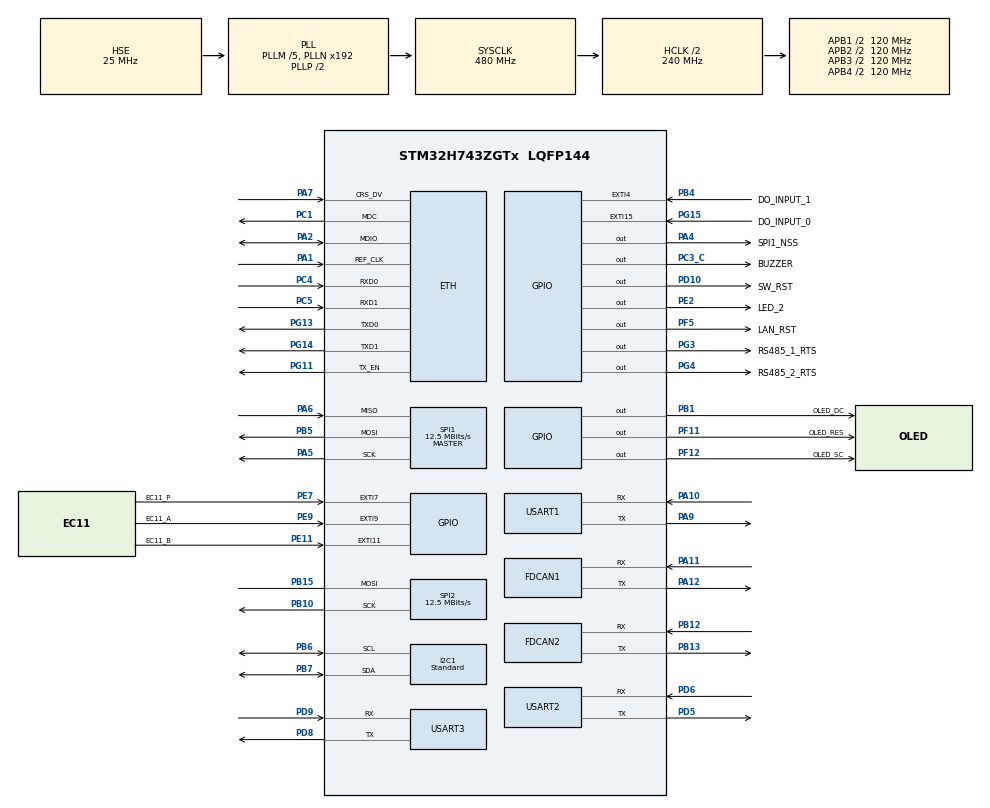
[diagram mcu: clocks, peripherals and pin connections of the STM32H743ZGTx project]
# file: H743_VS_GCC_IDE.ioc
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CORTEX_M7.AccessPermission_S-Cortex_Memory_Protection_Unit_Region1_Settings_S=MPU_REGION_FULL_ACCESS
CORTEX_M7.AccessPermission_S-Cortex_Memory_Protection_Unit_Region2_Settings_S=MPU_REGION_FULL_ACCESS
CORTEX_M7.AccessPermission_S-Cortex_Memory_Protection_Unit_Region3_Settings_S=MPU_REGION_FULL_ACCESS
CORTEX_M7.AccessPermission_S-Cortex_Memory_Protection_Unit_Region4_Settings_S=MPU_REGION_FULL_ACCESS
CORTEX_M7.AccessPermission_Spec=MPU_REGION_FULL_ACCESS
CORTEX_M7.BaseAddress_S-Cortex_Memory_Protection_Unit_Region1_Settings_S=0x30000000
CORTEX_M7.BaseAddress_S-Cortex_Memory_Protection_Unit_Region2_Settings_S=0x30004000
CORTEX_M7.BaseAddress_S-Cortex_Memory_Protection_Unit_Region3_Settings_S=0x38800000
CORTEX_M7.BaseAddress_S-Cortex_Memory_Protection_Unit_Region4_Settings_S=0x38000000
CORTEX_M7.BaseAddress_Spec=0x24000000
CORTEX_M7.CPU_DCache=Enabled
CORTEX_M7.CPU_ICache=Enabled
CORTEX_M7.DisableExec_S-Cortex_Memory_Protection_Unit_Region1_Settings_S=MPU_INSTRUCTION_ACCESS_DISABLE
CORTEX_M7.DisableExec_S-Cortex_Memory_Protection_Unit_Region2_Settings_S=MPU_INSTRUCTION_ACCESS_ENABLE
CORTEX_M7.DisableExec_Spec=MPU_INSTRUCTION_ACCESS_ENABLE
CORTEX_M7.Enable_S-Cortex_Memory_Protection_Unit_Region1_Settings_S=MPU_REGION_ENABLE
CORTEX_M7.Enable_S-Cortex_Memory_Protection_Unit_Region2_Settings_S=MPU_REGION_ENABLE
CORTEX_M7.Enable_S-Cortex_Memory_Protection_Unit_Region3_Settings_S=MPU_REGION_ENABLE
CORTEX_M7.Enable_S-Cortex_Memory_Protection_Unit_Region4_Settings_S=MPU_REGION_ENABLE
CORTEX_M7.Enable_S-Cortex_Memory_Protection_Unit_Region5_Settings_S=__NULL
CORTEX_M7.IsBufferable_S-Cortex_Memory_Protection_Unit_Region1_Settings_S=MPU_ACCESS_BUFFERABLE
CORTEX_M7.IsBufferable_S-Cortex_Memory_Protection_Unit_Region2_Settings_S=MPU_ACCESS_NOT_BUFFERABLE
CORTEX_M7.IsBufferable_S-Cortex_Memory_Protection_Unit_Region4_Settings_S=MPU_ACCESS_NOT_BUFFERABLE
CORTEX_M7.IsBufferable_Spec=MPU_ACCESS_NOT_BUFFERABLE
CORTEX_M7.IsCacheable_S-Cortex_Memory_Protection_Unit_Region2_Settings_S=MPU_ACCESS_CACHEABLE
CORTEX_M7.IsCacheable_S-Cortex_Memory_Protection_Unit_Region4_Settings_S=MPU_ACCESS_CACHEABLE
CORTEX_M7.IsCacheable_Spec=MPU_ACCESS_CACHEABLE
CORTEX_M7.IsShareable_S-Cortex_Memory_Protection_Unit_Region1_Settings_S=MPU_ACCESS_SHAREABLE
CORTEX_M7.IsShareable_S-Cortex_Memory_Protection_Unit_Region2_Settings_S=MPU_ACCESS_NOT_SHAREABLE
CORTEX_M7.IsShareable_S-Cortex_Memory_Protection_Unit_Region4_Settings_S=MPU_ACCESS_SHAREABLE
CORTEX_M7.IsShareable_Spec=MPU_ACCESS_NOT_SHAREABLE
CORTEX_M7.Size_S-Cortex_Memory_Protection_Unit_Region1_Settings_S=MPU_REGION_SIZE_256B
CORTEX_M7.Size_S-Cortex_Memory_Protection_Unit_Region2_Settings_S=MPU_REGION_SIZE_64KB
CORTEX_M7.Size_S-Cortex_Memory_Protection_Unit_Region3_Settings_S=MPU_REGION_SIZE_4KB
CORTEX_M7.Size_S-Cortex_Memory_Protection_Unit_Region4_Settings_S=MPU_REGION_SIZE_64KB
CORTEX_M7.Size_Spec=MPU_REGION_SIZE_512KB
CORTEX_M7.SubRegionDisable_Spec=0x00
CORTEX_M7.TypeExtField_S-Cortex_Memory_Protection_Unit_Region2_Settings_S=MPU_TEX_LEVEL1
CORTEX_M7.default_mode_Activation=1
Dma.I2C1_TX.0.Direction=DMA_MEMORY_TO_PERIPH
Dma.I2C1_TX.0.EventEnable=DISABLE
Dma.I2C1_TX.0.FIFOMode=DMA_FIFOMODE_DISABLE
Dma.I2C1_TX.0.Instance=DMA1_Stream3
Dma.I2C1_TX.0.MemDataAlignment=DMA_MDATAALIGN_BYTE
Dma.I2C1_TX.0.MemInc=DMA_MINC_ENABLE
Dma.I2C1_TX.0.Mode=DMA_NORMAL
Dma.I2C1_TX.0.PeriphDataAlignment=DMA_PDATAALIGN_BYTE
Dma.I2C1_TX.0.PeriphInc=DMA_PINC_DISABLE
Dma.I2C1_TX.0.Polarity=HAL_DMAMUX_REQ_GEN_RISING
Dma.I2C1_TX.0.Priority=DMA_PRIORITY_LOW
Dma.I2C1_TX.0.RequestNumber=1
Dma.I2C1_TX.0.SignalID=NONE
Dma.I2C1_TX.0.SyncEnable=DISABLE
Dma.I2C1_TX.0.SyncPolarity=HAL_DMAMUX_SYNC_NO_EVENT
Dma.I2C1_TX.0.SyncRequestNumber=1
Dma.I2C1_TX.0.SyncSignalID=NONE
Dma.Request0=I2C1_TX
Dma.Request1=USART2_RX
Dma.Request2=USART2_TX
Dma.Request3=USART1_RX
Dma.Request4=USART1_TX
Dma.USART1_RX.3.Direction=DMA_PERIPH_TO_MEMORY
Dma.USART1_RX.3.EventEnable=DISABLE
Dma.USART1_RX.3.FIFOMode=DMA_FIFOMODE_DISABLE
Dma.USART1_RX.3.Instance=DMA1_Stream0
Dma.USART1_RX.3.MemDataAlignment=DMA_MDATAALIGN_BYTE
Dma.USART1_RX.3.MemInc=DMA_MINC_ENABLE
Dma.USART1_RX.3.Mode=DMA_NORMAL
Dma.USART1_RX.3.PeriphDataAlignment=DMA_PDATAALIGN_BYTE
Dma.USART1_RX.3.PeriphInc=DMA_PINC_DISABLE
Dma.USART1_RX.3.Polarity=HAL_DMAMUX_REQ_GEN_RISING
Dma.USART1_RX.3.Priority=DMA_PRIORITY_HIGH
Dma.USART1_RX.3.RequestNumber=1
Dma.USART1_RX.3.SignalID=NONE
Dma.USART1_RX.3.SyncEnable=DISABLE
Dma.USART1_RX.3.SyncPolarity=HAL_DMAMUX_SYNC_NO_EVENT
Dma.USART1_RX.3.SyncRequestNumber=1
Dma.USART1_RX.3.SyncSignalID=NONE
Dma.USART1_TX.4.Direction=DMA_MEMORY_TO_PERIPH
Dma.USART1_TX.4.EventEnable=DISABLE
Dma.USART1_TX.4.FIFOMode=DMA_FIFOMODE_DISABLE
Dma.USART1_TX.4.Instance=DMA1_Stream1
Dma.USART1_TX.4.MemDataAlignment=DMA_MDATAALIGN_BYTE
Dma.USART1_TX.4.MemInc=DMA_MINC_ENABLE
Dma.USART1_TX.4.Mode=DMA_NORMAL
Dma.USART1_TX.4.PeriphDataAlignment=DMA_PDATAALIGN_BYTE
Dma.USART1_TX.4.PeriphInc=DMA_PINC_DISABLE
Dma.USART1_TX.4.Polarity=HAL_DMAMUX_REQ_GEN_RISING
Dma.USART1_TX.4.Priority=DMA_PRIORITY_HIGH
Dma.USART1_TX.4.RequestNumber=1
Dma.USART1_TX.4.SignalID=NONE
Dma.USART1_TX.4.SyncEnable=DISABLE
Dma.USART1_TX.4.SyncPolarity=HAL_DMAMUX_SYNC_NO_EVENT
Dma.USART1_TX.4.SyncRequestNumber=1
Dma.USART1_TX.4.SyncSignalID=NONE
Dma.USART2_RX.1.Direction=DMA_PERIPH_TO_MEMORY
Dma.USART2_RX.1.EventEnable=DISABLE
Dma.USART2_RX.1.FIFOMode=DMA_FIFOMODE_DISABLE
Dma.USART2_RX.1.Instance=DMA1_Stream4
Dma.USART2_RX.1.MemDataAlignment=DMA_MDATAALIGN_BYTE
Dma.USART2_RX.1.MemInc=DMA_MINC_ENABLE
Dma.USART2_RX.1.Mode=DMA_NORMAL
Dma.USART2_RX.1.PeriphDataAlignment=DMA_PDATAALIGN_BYTE
Dma.USART2_RX.1.PeriphInc=DMA_PINC_DISABLE
Dma.USART2_RX.1.Polarity=HAL_DMAMUX_REQ_GEN_RISING
Dma.USART2_RX.1.Priority=DMA_PRIORITY_LOW
Dma.USART2_RX.1.RequestNumber=1
Dma.USART2_RX.1.SignalID=NONE
Dma.USART2_RX.1.SyncEnable=DISABLE
Dma.USART2_RX.1.SyncPolarity=HAL_DMAMUX_SYNC_NO_EVENT
Dma.USART2_RX.1.SyncRequestNumber=1
Dma.USART2_RX.1.SyncSignalID=NONE
Dma.USART2_TX.2.Direction=DMA_MEMORY_TO_PERIPH
Dma.USART2_TX.2.EventEnable=DISABLE
Dma.USART2_TX.2.FIFOMode=DMA_FIFOMODE_DISABLE
Dma.USART2_TX.2.Instance=DMA1_Stream5
Dma.USART2_TX.2.MemDataAlignment=DMA_MDATAALIGN_BYTE
Dma.USART2_TX.2.MemInc=DMA_MINC_ENABLE
Dma.USART2_TX.2.Mode=DMA_NORMAL
Dma.USART2_TX.2.PeriphDataAlignment=DMA_PDATAALIGN_BYTE
Dma.USART2_TX.2.PeriphInc=DMA_PINC_DISABLE
Dma.USART2_TX.2.Polarity=HAL_DMAMUX_REQ_GEN_RISING
Dma.USART2_TX.2.Priority=DMA_PRIORITY_LOW
Dma.USART2_TX.2.RequestNumber=1
Dma.USART2_TX.2.SignalID=NONE
Dma.USART2_TX.2.SyncEnable=DISABLE
Dma.USART2_TX.2.SyncPolarity=HAL_DMAMUX_SYNC_NO_EVENT
Dma.USART2_TX.2.SyncRequestNumber=1
Dma.USART2_TX.2.SyncSignalID=NONE
ETH.ETH_RX_DESC_CNT=4
ETH.ETH_TX_DESC_CNT=4
ETH.MediaInterface=HAL_ETH_RMII_MODE
ETH.RxBuffLen=1536
ETH.RxBufferAddress=0x30000200
ETH.RxDescAddress=0x30000000
ETH.TxDescAddress=0x30000100
FDCAN1.CalculateBaudRateNominal=500000
FDCAN1.CalculateTimeBitNominal=2000
FDCAN1.CalculateTimeQuantumNominal=50.0
FDCAN1.DataPrescaler=5
FDCAN1.DataTimeSeg1=31
FDCAN1.DataTimeSeg2=8
FDCAN1.NominalPrescaler=5
FDCAN1.NominalTimeSeg1=31
FDCAN1.NominalTimeSeg2=8
FDCAN1.RxFifo0ElmtsNbr=32
FDCAN1.StdFiltersNbr=1
FDCAN1.TxFifoQueueElmtsNbr=16
FDCAN2.CalculateBaudRateNominal=500000
FDCAN2.CalculateTimeBitNominal=2000
FDCAN2.CalculateTimeQuantumNominal=50.0
FDCAN2.DataPrescaler=5
FDCAN2.DataTimeSeg1=31
FDCAN2.DataTimeSeg2=8
FDCAN2.MessageRAMOffset=0x406
FDCAN2.NominalPrescaler=5
FDCAN2.NominalTimeSeg1=31
FDCAN2.NominalTimeSeg2=8
FDCAN2.RxFifo1ElmtsNbr=32
FDCAN2.StdFiltersNbr=1
FDCAN2.TxFifoQueueElmtsNbr=32
FREERTOS.HEAP_NUMBER=4
FREERTOS.Tasks01=defaultTask,24,4096,StartDefaultTask,Default,NULL,Dynamic,NULL,NULL
FREERTOS.configENABLE_FPU=1
FREERTOS.configMINIMAL_STACK_SIZE=1024
FREERTOS.configTIMER_QUEUE_LENGTH=20
FREERTOS.configTIMER_TASK_PRIORITY=24
FREERTOS.configTIMER_TASK_STACK_DEPTH=20480
FREERTOS.configTOTAL_HEAP_SIZE=200*1024
FREERTOS.configUSE_NEWLIB_REENTRANT=1
FREERTOS.configUSE_TICKLESS_IDLE=1
I2C1.CustomTiming=Disabled
I2C1.I2C_Coeff_DF=10
I2C1.I2C_Fall_Time=20
I2C1.I2C_Rise_Time=20
I2C1.I2C_Speed_Mode=I2C_Standard
I2C1.Timing=0x10D0E0FF
IWDG1.Prescaler=IWDG_PRESCALER_4
LWIP.BSP.number=1
LWIP.DEFAULT_THREAD_PRIO=28
LWIP.ETH_RX_BUFFER_CNT=128
LWIP.IP_ADDRESS=000.000.000.000
LWIP.LWIP_ALLOW_MEM_FREE_FROM_OTHER_CONTEXT=1
LWIP.LWIP_DHCP=0
LWIP.LWIP_NETCONN_FULLDUPLEX=1
LWIP.LWIP_RAM_HEAP_POINTER=0x30000800
LWIP.LWIP_SNTP=1
LWIP.MEMP_MEM_INIT=1
LWIP.MEMP_MEM_MALLOC=1
LWIP.MEMP_NUM_PBUF=64
LWIP.MEMP_USE_CUSTOM_POOLS=1
LWIP.MEM_LIBC_MALLOC=1
LWIP.MEM_SIZE=65535
LWIP.NETMASK_ADDRESS=000.000.000.000
LWIP.PBUF_POOL_SIZE=128
LWIP.SLIPIF_THREAD_PRIO=28
LWIP.TCPIP_THREAD_PRIO=32
LWIP.TCPIP_THREAD_STACKSIZE=4096
LWIP.TCP_SND_QUEUELEN=24
LWIP.Version=v2.1.2_Cube
LWIP0.BSP.STBoard=false
LWIP0.BSP.api=BSP_COMPONENT_DRIVER
LWIP0.BSP.component=LAN8742
LWIP0.BSP.instance=LAN8742
LWIP0.BSP.name=Driver_PHY
LWIP0.BSP.semaphore=S_LAN8742
LWIP0.BSP.solution=LAN8742
Mcu.Family=STM32H7
Mcu.Name=STM32H743ZGTx
Mcu.Package=LQFP144
NVIC.DMA1_Stream0_IRQn=true\:5\:0\:false\:false\:true\:true\:false\:true\:true
NVIC.DMA1_Stream1_IRQn=true\:5\:0\:false\:false\:true\:true\:false\:true\:true
NVIC.DMA1_Stream3_IRQn=true\:5\:0\:false\:false\:true\:true\:false\:true\:true
NVIC.DMA1_Stream4_IRQn=true\:5\:0\:false\:false\:true\:true\:false\:true\:true
NVIC.DMA1_Stream5_IRQn=true\:5\:0\:false\:false\:true\:true\:false\:true\:true
NVIC.ETH_IRQn=true\:5\:0\:true\:false\:true\:true\:true\:true\:true
NVIC.EXTI15_10_IRQn=true\:5\:0\:false\:false\:true\:true\:true\:true\:true
NVIC.EXTI4_IRQn=true\:5\:0\:false\:false\:true\:true\:true\:true\:true
NVIC.EXTI9_5_IRQn=true\:5\:0\:true\:false\:true\:false\:true\:true\:true
NVIC.FDCAN1_IT0_IRQn=true\:5\:0\:false\:false\:true\:true\:true\:true\:true
NVIC.FDCAN2_IT0_IRQn=true\:5\:0\:false\:false\:true\:true\:true\:true\:true
NVIC.PriorityGroup=NVIC_PRIORITYGROUP_4
NVIC.TIM2_IRQn=true\:5\:0\:false\:false\:false\:true\:true\:true\:true
NVIC.TIM7_IRQn=true\:15\:0\:false\:false\:true\:false\:false\:true\:true
NVIC.TimeBase=TIM7_IRQn
NVIC.TimeBaseIP=TIM7
NVIC.USART1_IRQn=true\:7\:0\:true\:false\:false\:true\:true\:true\:true
NVIC.USART2_IRQn=true\:5\:0\:true\:false\:true\:true\:true\:true\:true
NVIC.USART3_IRQn=true\:5\:0\:true\:false\:false\:true\:true\:true\:true
PA1.GPIO_Mode=GPIO_MODE_AF_PP
PA1.GPIO_PuPd=GPIO_NOPULL
PA1.GPIO_Speed=GPIO_SPEED_FREQ_VERY_HIGH
PA1.Mode=RMII
PA1.Signal=ETH_REF_CLK
PA10.GPIO_PuPd=GPIO_PULLUP
PA10.GPIO_Speed=GPIO_SPEED_FREQ_HIGH
PA10.Mode=Asynchronous
PA10.Signal=USART1_RX
PA11.Mode=FDCAN_Activate
PA11.Signal=FDCAN1_RX
PA12.Mode=FDCAN_Activate
PA12.Signal=FDCAN1_TX
PA13\ (JTMS/SWDIO).Mode=Serial_Wire
PA13\ (JTMS/SWDIO).Signal=DEBUG_JTMS-SWDIO
PA14\ (JTCK/SWCLK).Mode=Serial_Wire
PA14\ (JTCK/SWCLK).Signal=DEBUG_JTCK-SWCLK
PA2.GPIO_Mode=GPIO_MODE_AF_PP
PA2.GPIO_PuPd=GPIO_NOPULL
PA2.GPIO_Speed=GPIO_SPEED_FREQ_VERY_HIGH
PA2.Mode=RMII
PA2.Signal=ETH_MDIO
PA4.GPIO_Label=SPI1_NSS
PA4.GPIO_Speed=GPIO_SPEED_FREQ_MEDIUM
PA4.Signal=GPIO_Output
PA5.GPIO_Speed=GPIO_SPEED_FREQ_VERY_HIGH
PA5.Mode=Full_Duplex_Master
PA5.Signal=SPI1_SCK
PA6.GPIO_Speed=GPIO_SPEED_FREQ_VERY_HIGH
PA6.Mode=Full_Duplex_Master
PA6.Signal=SPI1_MISO
PA7.GPIO_Mode=GPIO_MODE_AF_PP
PA7.GPIO_PuPd=GPIO_NOPULL
PA7.GPIO_Speed=GPIO_SPEED_FREQ_VERY_HIGH
PA7.Mode=RMII
PA7.Signal=ETH_CRS_DV
PA9.GPIO_PuPd=GPIO_PULLUP
PA9.GPIO_Speed=GPIO_SPEED_FREQ_HIGH
PA9.Mode=Asynchronous
PA9.Signal=USART1_TX
PB1.GPIO_Label=OLED_DC
PB1.Signal=GPIO_Output
PB10.Mode=Simplex_Bidirectional_Master
PB10.Signal=SPI2_SCK
PB12.Mode=FDCAN_Activate
PB12.Signal=FDCAN2_RX
PB13.Mode=FDCAN_Activate
PB13.Signal=FDCAN2_TX
PB15.Mode=Simplex_Bidirectional_Master
PB15.Signal=SPI2_MOSI
PB4\ (NJTRST).GPIO_Label=DO_INPUT_1
PB4\ (NJTRST).Signal=GPXTI4
PB5.GPIO_Speed=GPIO_SPEED_FREQ_VERY_HIGH
PB5.Mode=Full_Duplex_Master
PB5.Signal=SPI1_MOSI
PB6.GPIO_Pu=GPIO_PULLUP
PB6.GPIO_Speed=GPIO_SPEED_FREQ_HIGH
PB6.Mode=I2C
PB6.Signal=I2C1_SCL
PB7.GPIO_Pu=GPIO_PULLUP
PB7.GPIO_Speed=GPIO_SPEED_FREQ_HIGH
PB7.Mode=I2C
PB7.Signal=I2C1_SDA
PC1.GPIO_Mode=GPIO_MODE_AF_PP
PC1.GPIO_PuPd=GPIO_NOPULL
PC1.GPIO_Speed=GPIO_SPEED_FREQ_VERY_HIGH
PC1.Mode=RMII
PC1.Signal=ETH_MDC
PC14-OSC32_IN\ (OSC32_IN).Mode=LSE-External-Oscillator
PC14-OSC32_IN\ (OSC32_IN).Signal=RCC_OSC32_IN
PC15-OSC32_OUT\ (OSC32_OUT).Mode=LSE-External-Oscillator
PC15-OSC32_OUT\ (OSC32_OUT).Signal=RCC_OSC32_OUT
PC3_C.GPIO_Label=BUZZER
PC3_C.GPIO_Speed=GPIO_SPEED_FREQ_HIGH
PC3_C.Signal=GPIO_Output
PC4.GPIO_Mode=GPIO_MODE_AF_PP
PC4.GPIO_PuPd=GPIO_NOPULL
PC4.GPIO_Speed=GPIO_SPEED_FREQ_VERY_HIGH
PC4.Mode=RMII
PC4.Signal=ETH_RXD0
PC5.GPIO_Mode=GPIO_MODE_AF_PP
PC5.GPIO_PuPd=GPIO_NOPULL
PC5.GPIO_Speed=GPIO_SPEED_FREQ_VERY_HIGH
PC5.Mode=RMII
PC5.Signal=ETH_RXD1
PD10.GPIO_Label=SW_RST
PD10.Signal=GPIO_Output
PD5.GPIO_PuPd=GPIO_PULLUP
PD5.GPIO_Speed=GPIO_SPEED_FREQ_HIGH
PD5.Mode=Asynchronous
PD5.Signal=USART2_TX
PD6.GPIO_PuPd=GPIO_PULLUP
PD6.GPIO_Speed=GPIO_SPEED_FREQ_HIGH
PD6.Mode=Asynchronous
PD6.Signal=USART2_RX
PD8.GPIO_PuPd=GPIO_PULLUP
PD8.GPIO_Speed=GPIO_SPEED_FREQ_HIGH
PD8.Mode=Asynchronous
PD8.Signal=USART3_TX
PD9.GPIO_PuPd=GPIO_PULLUP
PD9.GPIO_Speed=GPIO_SPEED_FREQ_HIGH
PD9.Mode=Asynchronous
PD9.Signal=USART3_RX
PE11.GPIO_Label=EC11_B
PE11.Signal=GPXTI11
PE2.GPIO_Label=LED_2
PE2.GPIO_PuPd=GPIO_PULLUP
PE2.Signal=GPIO_Output
PE7.GPIO_Label=EC11_P
PE7.GPIO_ModeDefaultEXTI=GPIO_MODE_IT_RISING_FALLING
PE7.Signal=GPXTI7
PE9.GPIO_Label=EC11_A
PE9.Signal=GPXTI9
PF11.GPIO_Label=OLED_RES
PF11.Signal=GPIO_Output
PF12.GPIO_Label=OLED_SC
PF12.Signal=GPIO_Output
PF5.GPIO_Label=LAN_RST
PF5.GPIO_PuPd=GPIO_NOPULL
PF5.PinState=GPIO_PIN_SET
PF5.Signal=GPIO_Output
PG11.GPIO_Mode=GPIO_MODE_AF_PP
PG11.GPIO_PuPd=GPIO_NOPULL
PG11.GPIO_Speed=GPIO_SPEED_FREQ_VERY_HIGH
PG11.Mode=RMII
PG11.Signal=ETH_TX_EN
PG13.GPIO_Mode=GPIO_MODE_AF_PP
PG13.GPIO_PuPd=GPIO_NOPULL
PG13.GPIO_Speed=GPIO_SPEED_FREQ_VERY_HIGH
PG13.Mode=RMII
PG13.Signal=ETH_TXD0
PG14.GPIO_Mode=GPIO_MODE_AF_PP
PG14.GPIO_PuPd=GPIO_NOPULL
PG14.GPIO_Speed=GPIO_SPEED_FREQ_VERY_HIGH
PG14.Mode=RMII
PG14.Signal=ETH_TXD1
PG15.GPIO_Label=DO_INPUT_0
PG15.GPIO_PuPd=GPIO_PULLDOWN
PG15.Signal=GPXTI15
PG3.GPIO_Label=RS485_1_RTS
PG3.GPIO_ModeDefaultOutputPP=GPIO_MODE_OUTPUT_PP
PG3.GPIO_PuPd=GPIO_NOPULL
PG3.GPIO_Speed=GPIO_SPEED_FREQ_MEDIUM
PG3.PinState=GPIO_PIN_RESET
PG3.Signal=GPIO_Output
PG4.GPIO_Label=RS485_2_RTS
PG4.GPIO_PuPd=GPIO_NOPULL
PG4.GPIO_Speed=GPIO_SPEED_FREQ_MEDIUM
PG4.PinState=GPIO_PIN_RESET
PG4.Signal=GPIO_Output
PH0-OSC_IN\ (PH0).Mode=HSE-External-Oscillator
PH0-OSC_IN\ (PH0).Signal=RCC_OSC_IN
PH1-OSC_OUT\ (PH1).Mode=HSE-External-Oscillator
PH1-OSC_OUT\ (PH1).Signal=RCC_OSC_OUT
ProjectManager.HeapSize=0x1200
ProjectManager.StackSize=0x1000
ProjectManager.TargetToolchain=CMake
RCC.ADCFreq_Value=100000000
RCC.APB1Freq_Value=120000000
RCC.APB2Freq_Value=120000000
RCC.APB3Freq_Value=120000000
RCC.APB4Freq_Value=120000000
RCC.CortexFreq_Value=480000000
RCC.D1PPRE=RCC_APB3_DIV2
RCC.D2PPRE1=RCC_APB1_DIV2
RCC.D2PPRE2=RCC_APB2_DIV2
RCC.D3PPRE=RCC_APB4_DIV2
RCC.DIVM1=5
RCC.DIVM2=5
RCC.DIVM3=5
RCC.DIVN1=192
RCC.DIVN2=160
RCC.DIVN3=160
RCC.DIVP2=8
RCC.DIVP3=4
RCC.DIVQ2=8
RCC.DIVR3=8
RCC.FDCANCLockSelection=RCC_FDCANCLKSOURCE_PLL2
RCC.HCLKFreq_Value=240000000
RCC.HPRE=RCC_HCLK_DIV2
RCC.I2C123CLockSelection=RCC_I2C123CLKSOURCE_PLL3
RCC.PLLSourceVirtual=RCC_PLLSOURCE_HSE
RCC.RTCClockSelection=RCC_RTCCLKSOURCE_LSE
RCC.SPI123CLockSelection=RCC_SPI123CLKSOURCE_PLL3
RCC.SYSCLKFreq_VALUE=480000000
RCC.SYSCLKSource=RCC_SYSCLKSOURCE_PLLCLK
RCC.USBFreq_Value=480000000
RTC.Format=RTC_FORMAT_BCD
RTC.Year=25
SPI1.BaudRatePrescaler=SPI_BAUDRATEPRESCALER_16
SPI1.CLKPhase=SPI_PHASE_1EDGE
SPI1.CLKPolarity=SPI_POLARITY_LOW
SPI1.CalculateBaudRate=12.5 MBits/s
SPI1.DataSize=SPI_DATASIZE_8BIT
SPI1.Direction=SPI_DIRECTION_2LINES
SPI1.FirstBit=SPI_FIRSTBIT_MSB
SPI1.Mode=SPI_MODE_MASTER
SPI1.VirtualType=VM_MASTER
SPI2.BaudRatePrescaler=SPI_BAUDRATEPRESCALER_16
SPI2.CLKPhase=SPI_PHASE_2EDGE
SPI2.CLKPolarity=SPI_POLARITY_HIGH
SPI2.CalculateBaudRate=12.5 MBits/s
SPI2.DataSize=SPI_DATASIZE_8BIT
SPI2.Direction=SPI_DIRECTION_1LINE
SPI2.Mode=SPI_MODE_MASTER
SPI2.VirtualType=VM_MASTER
TIM2.AutoReloadPreload=TIM_AUTORELOAD_PRELOAD_DISABLE
TIM2.Prescaler=239
USART1.VirtualMode-Asynchronous=VM_ASYNC
USART2.VirtualMode-Asynchronous=VM_ASYNC
USART3.VirtualMode-Asynchronous=VM_ASYNC
VP_FREERTOS_VS_CMSIS_V2.Mode=CMSIS_V2
VP_IWDG1_VS_IWDG.Mode=IWDG_Activate
VP_LWIP_VS_Enabled.Mode=Enabled
VP_MEMORYMAP_VS_MEMORYMAP.Mode=CurAppReg
VP_RTC_VS_RTC_Activate.Mode=RTC_Enabled
VP_RTC_VS_RTC_Calendar.Mode=RTC_Calendar
VP_SYS_VS_tim7.Mode=TIM7
VP_TIM2_VS_ClockSourceINT.Mode=Internal
board=custom

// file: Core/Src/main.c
/* USER CODE BEGIN Header */
/**
  ******************************************************************************
  * @file           : main.c
  * @brief          : Main program body
  ******************************************************************************
  * @attention
  *
  * Copyright (c) 2026 STMicroelectronics.
  * All rights reserved.
  *
  * This software is licensed under terms that can be found in the LICENSE file
  * in the root directory of this software component.
  * If no LICENSE file comes with this software, it is provided AS-IS.
  *
  ******************************************************************************
  */
/* USER CODE END Header */
#include "main.h"
#include "cmsis_os.h"
#include "dma.h"
#include "fdcan.h"
#include "i2c.h"
#include "iwdg.h"
#include "lwip.h"
#include "rtc.h"
#include "spi.h"
#include "tim.h"
#include "usart.h"
#include "gpio.h"

/* USER CODE BEGIN Includes */
#include "cJSON.h"
/* USER CODE END Includes */

void SystemClock_Config(void);
void PeriphCommonClock_Config(void);
static void MPU_Config(void);
void MX_FREERTOS_Init(void);

int main(void)
{

  /* MPU Configuration--------------------------------------------------------*/
  MPU_Config();

  /* Enable the CPU Cache */

  /* Enable I-Cache---------------------------------------------------------*/
  SCB_EnableICache();

  /* Enable D-Cache---------------------------------------------------------*/
  SCB_EnableDCache();

  /* MCU Configuration--------------------------------------------------------*/

  /* Reset of all peripherals, Initializes the Flash interface and the Systick. */
  HAL_Init();

  /* Configure the system clock */
  SystemClock_Config();

  /* Configure the peripherals common clocks */
  PeriphCommonClock_Config();

  /* Initialize all configured peripherals */
  MX_GPIO_Init();
  MX_DMA_Init();
  MX_FDCAN1_Init();
  MX_FDCAN2_Init();
  MX_I2C1_Init();
  MX_RTC_Init();
  MX_SPI1_Init();
  MX_USART1_UART_Init();
  MX_USART3_UART_Init();
  MX_USART2_UART_Init();
  MX_SPI2_Init();
  MX_TIM2_Init();
  MX_IWDG1_Init();
  /* USER CODE BEGIN 2 */
  cJSON_Init_FreeRTOS_Heap();
  /* USER CODE END 2 */

  /* Init scheduler */
  osKernelInitialize();  /* Call init function for freertos objects (in cmsis_os2.c) */
  MX_FREERTOS_Init();

  /* Start scheduler */
  osKernelStart();

  /* We should never get here as control is now taken by the scheduler */

  /* Infinite loop */
  while (1)
  {

  }
}

void SystemClock_Config(void)
{
  RCC_OscInitTypeDef RCC_OscInitStruct = {0};
  RCC_ClkInitTypeDef RCC_ClkInitStruct = {0};

  /** Supply configuration update enable
  */
  HAL_PWREx_ConfigSupply(PWR_LDO_SUPPLY);

  /** Configure the main internal regulator output voltage
  */
  __HAL_PWR_VOLTAGESCALING_CONFIG(PWR_REGULATOR_VOLTAGE_SCALE0);

  while(!__HAL_PWR_GET_FLAG(PWR_FLAG_VOSRDY)) {}

  /** Configure LSE Drive Capability
  */
  HAL_PWR_EnableBkUpAccess();
  __HAL_RCC_LSEDRIVE_CONFIG(RCC_LSEDRIVE_LOW);

  /** Initializes the RCC Oscillators according to the specified parameters
  * in the RCC_OscInitTypeDef structure.
  */
  RCC_OscInitStruct.OscillatorType = RCC_OSCILLATORTYPE_LSI|RCC_OSCILLATORTYPE_HSE
                              |RCC_OSCILLATORTYPE_LSE;
  RCC_OscInitStruct.HSEState = RCC_HSE_ON;
  RCC_OscInitStruct.LSEState = RCC_LSE_ON;
  RCC_OscInitStruct.LSIState = RCC_LSI_ON;
  RCC_OscInitStruct.PLL.PLLState = RCC_PLL_ON;
  RCC_OscInitStruct.PLL.PLLSource = RCC_PLLSOURCE_HSE;
  RCC_OscInitStruct.PLL.PLLM = 5;
  RCC_OscInitStruct.PLL.PLLN = 192;
  RCC_OscInitStruct.PLL.PLLP = 2;
  RCC_OscInitStruct.PLL.PLLQ = 2;
  RCC_OscInitStruct.PLL.PLLR = 2;
  RCC_OscInitStruct.PLL.PLLRGE = RCC_PLL1VCIRANGE_2;
  RCC_OscInitStruct.PLL.PLLVCOSEL = RCC_PLL1VCOWIDE;
  RCC_OscInitStruct.PLL.PLLFRACN = 0;
  if (HAL_RCC_OscConfig(&RCC_OscInitStruct) != HAL_OK)
  {
    Error_Handler();
  }

  /** Initializes the CPU, AHB and APB buses clocks
  */
  RCC_ClkInitStruct.ClockType = RCC_CLOCKTYPE_HCLK|RCC_CLOCKTYPE_SYSCLK
                              |RCC_CLOCKTYPE_PCLK1|RCC_CLOCKTYPE_PCLK2
                              |RCC_CLOCKTYPE_D3PCLK1|RCC_CLOCKTYPE_D1PCLK1;
  RCC_ClkInitStruct.SYSCLKSource = RCC_SYSCLKSOURCE_PLLCLK;
  RCC_ClkInitStruct.SYSCLKDivider = RCC_SYSCLK_DIV1;
  RCC_ClkInitStruct.AHBCLKDivider = RCC_HCLK_DIV2;
  RCC_ClkInitStruct.APB3CLKDivider = RCC_APB3_DIV2;
  RCC_ClkInitStruct.APB1CLKDivider = RCC_APB1_DIV2;
  RCC_ClkInitStruct.APB2CLKDivider = RCC_APB2_DIV2;
  RCC_ClkInitStruct.APB4CLKDivider = RCC_APB4_DIV2;

  if (HAL_RCC_ClockConfig(&RCC_ClkInitStruct, FLASH_LATENCY_4) != HAL_OK)
  {
    Error_Handler();
  }
}

void PeriphCommonClock_Config(void)
{
  RCC_PeriphCLKInitTypeDef PeriphClkInitStruct = {0};

  /** Initializes the peripherals clock
  */
  PeriphClkInitStruct.PeriphClockSelection = RCC_PERIPHCLK_I2C1|RCC_PERIPHCLK_SPI2
                              |RCC_PERIPHCLK_SPI1|RCC_PERIPHCLK_FDCAN;
  PeriphClkInitStruct.PLL2.PLL2M = 5;
  PeriphClkInitStruct.PLL2.PLL2N = 160;
  PeriphClkInitStruct.PLL2.PLL2P = 8;
  PeriphClkInitStruct.PLL2.PLL2Q = 8;
  PeriphClkInitStruct.PLL2.PLL2R = 2;
  PeriphClkInitStruct.PLL2.PLL2RGE = RCC_PLL2VCIRANGE_2;
  PeriphClkInitStruct.PLL2.PLL2VCOSEL = RCC_PLL2VCOWIDE;
  PeriphClkInitStruct.PLL2.PLL2FRACN = 0;
  PeriphClkInitStruct.PLL3.PLL3M = 5;
  PeriphClkInitStruct.PLL3.PLL3N = 160;
  PeriphClkInitStruct.PLL3.PLL3P = 4;
  PeriphClkInitStruct.PLL3.PLL3Q = 2;
  PeriphClkInitStruct.PLL3.PLL3R = 8;
  PeriphClkInitStruct.PLL3.PLL3RGE = RCC_PLL3VCIRANGE_2;
  PeriphClkInitStruct.PLL3.PLL3VCOSEL = RCC_PLL3VCOWIDE;
  PeriphClkInitStruct.PLL3.PLL3FRACN = 0;
  PeriphClkInitStruct.Spi123ClockSelection = RCC_SPI123CLKSOURCE_PLL3;
  PeriphClkInitStruct.FdcanClockSelection = RCC_FDCANCLKSOURCE_PLL2;
  PeriphClkInitStruct.I2c123ClockSelection = RCC_I2C123CLKSOURCE_PLL3;
  if (HAL_RCCEx_PeriphCLKConfig(&PeriphClkInitStruct) != HAL_OK)
  {
    Error_Handler();
  }
}

 /* MPU Configuration */

void MPU_Config(void)
{
  MPU_Region_InitTypeDef MPU_InitStruct = {0};

  /* Disables the MPU */
  HAL_MPU_Disable();

  /** Initializes and configures the Region and the memory to be protected
  */
  MPU_InitStruct.Enable = MPU_REGION_ENABLE;
  MPU_InitStruct.Number = MPU_REGION_NUMBER0;
  MPU_InitStruct.BaseAddress = 0x24000000;
  MPU_InitStruct.Size = MPU_REGION_SIZE_512KB;
  MPU_InitStruct.SubRegionDisable = 0x00;
  MPU_InitStruct.TypeExtField = MPU_TEX_LEVEL0;
  MPU_InitStruct.AccessPermission = MPU_REGION_FULL_ACCESS;
  MPU_InitStruct.DisableExec = MPU_INSTRUCTION_ACCESS_ENABLE;
  MPU_InitStruct.IsShareable = MPU_ACCESS_NOT_SHAREABLE;
  MPU_InitStruct.IsCacheable = MPU_ACCESS_CACHEABLE;
  MPU_InitStruct.IsBufferable = MPU_ACCESS_NOT_BUFFERABLE;

  HAL_MPU_ConfigRegion(&MPU_InitStruct);

  /** Initializes and configures the Region and the memory to be protected
  */
  MPU_InitStruct.Number = MPU_REGION_NUMBER1;
  MPU_InitStruct.BaseAddress = 0x30000000;
  MPU_InitStruct.Size = MPU_REGION_SIZE_16KB;  // 建议至少16KB
  MPU_InitStruct.SubRegionDisable = 0x0;
  MPU_InitStruct.TypeExtField = MPU_TEX_LEVEL1;  // 核心修正！必须显式设置为Device类型
  MPU_InitStruct.DisableExec = MPU_INSTRUCTION_ACCESS_DISABLE;// 禁止执行代码
  MPU_InitStruct.IsShareable = MPU_ACCESS_SHAREABLE; // 必须启用共享
  MPU_InitStruct.IsCacheable = MPU_ACCESS_NOT_CACHEABLE;  // 冗余但安全
  MPU_InitStruct.IsBufferable = MPU_ACCESS_BUFFERABLE;

  HAL_MPU_ConfigRegion(&MPU_InitStruct);

  /** Initializes and configures the Region and the memory to be protected
  */
  MPU_InitStruct.Number = MPU_REGION_NUMBER2;
  MPU_InitStruct.BaseAddress = 0x30004000;
  MPU_InitStruct.Size = MPU_REGION_SIZE_64KB;
  MPU_InitStruct.TypeExtField = MPU_TEX_LEVEL1;
  MPU_InitStruct.DisableExec = MPU_INSTRUCTION_ACCESS_ENABLE;
  MPU_InitStruct.IsShareable = MPU_ACCESS_NOT_SHAREABLE;
  MPU_InitStruct.IsCacheable = MPU_ACCESS_CACHEABLE;
  MPU_InitStruct.IsBufferable = MPU_ACCESS_NOT_BUFFERABLE;

  HAL_MPU_ConfigRegion(&MPU_InitStruct);

  /** Initializes and configures the Region and the memory to be protected
  */
  MPU_InitStruct.Number = MPU_REGION_NUMBER3;
  MPU_InitStruct.BaseAddress = 0x38800000;
  MPU_InitStruct.Size = MPU_REGION_SIZE_4KB;
  MPU_InitStruct.TypeExtField = MPU_TEX_LEVEL0;
  MPU_InitStruct.IsCacheable = MPU_ACCESS_NOT_CACHEABLE;

  HAL_MPU_ConfigRegion(&MPU_InitStruct);

  /** Initializes and configures the Region and the memory to be protected
  */
  MPU_InitStruct.Number = MPU_REGION_NUMBER4;
  MPU_InitStruct.BaseAddress = 0x38000000;
  MPU_InitStruct.Size = MPU_REGION_SIZE_64KB;
  MPU_InitStruct.IsShareable = MPU_ACCESS_SHAREABLE;
  MPU_InitStruct.IsCacheable = MPU_ACCESS_CACHEABLE;

  HAL_MPU_ConfigRegion(&MPU_InitStruct);
  /* Enables the MPU */
  HAL_MPU_Enable(MPU_PRIVILEGED_DEFAULT);

}

void HAL_TIM_PeriodElapsedCallback(TIM_HandleTypeDef *htim)
{
  if (htim->Instance == TIM7)
  {
    HAL_IncTick();
  }
}

void Error_Handler(void)
{
  __disable_irq();
  while (1)
  {
  }
}

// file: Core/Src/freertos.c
/* USER CODE BEGIN Header */
/**
 ******************************************************************************
 * File Name          : freertos.c
 * Description        : Code for freertos applications
 ******************************************************************************
 * @attention
 *
 * Copyright (c) 2026 STMicroelectronics.
 * All rights reserved.
 *
 * This software is licensed under terms that can be found in the LICENSE file
 * in the root directory of this software component.
 * If no LICENSE file comes with this software, it is provided AS-IS.
 *
 ******************************************************************************
 */
/* USER CODE END Header */

#include "FreeRTOS.h"
#include "task.h"
#include "main.h"
#include "cmsis_os.h"

/* USER CODE BEGIN Includes */
#include "u8g2.h"
#include "oled_u8g2.h"
#include "sht40.h"
#include "rtc_clock.h"
#include "stdio.h"
#include "string.h"
#include "oled_page.h"
#include "oled_task.h"
#include "bsp_fdcan.h"
#include "buzzer.h"
#include "mbif.h"
#include "running_logic.h"
#include "syncif.h"
#include "shell_port.h"
#include "var_init.h"
#include "flashdb.h"
#include "net_comm_task.h"
#include "iwdg.h"
/* USER CODE END Includes */

/* USER CODE BEGIN Variables */
QueueHandle_t udp_msg_queue = NULL;
QueueHandle_t xTcpTaskQueue = NULL;
QueueHandle_t xTimerReqQueue = NULL;
QueueHandle_t xRebootCmdQueue = NULL;
QueueHandle_t tcp_send_queue = NULL;
/* USER CODE END Variables */
/* Definitions for defaultTask */
osThreadId_t defaultTaskHandle;
const osThreadAttr_t defaultTask_attributes = {
  .name = "defaultTask",
  .stack_size = 4096 * 4,
  .priority = (osPriority_t) osPriorityNormal,
};

/* USER CODE BEGIN FunctionPrototypes */
/**********************任务*************************************/
osThreadId_t ETH_InitTaskHandle;
const osThreadAttr_t ETH_InitTask_attributes = {
  .name = "ETH_InitTask",
  .stack_size = 1024 * 4,
  .priority = (osPriority_t) osPriorityNormal,
};

osThreadId_t udpTaskHandle;
const osThreadAttr_t udpTask_attributes = {
  .name = "udpTask",
  .stack_size = 1024 * 10,     // 足够跑 UDP + JSON
  .priority = (osPriority_t) osPriorityNormal1,  // 与MODBUS通讯任务相同比普通任务高
};

// TCP 客户端任务配置（TCP 9530）
osThreadId_t tcpConfigTaskHandle;
const osThreadAttr_t tcpConfigTask_attributes = {
  .name = "tcpConfigTask",        // 任务名，唯一不重复
  .stack_size = 1024 * 10,         // 栈大小：4K（足够TCP+JSON解析）
  .priority = (osPriority_t) osPriorityNormal1,  // 优先级同TCP任务
};

// TCP 客户端TCP 任务处理任务（从TCP任务队列取出任务信息，执行注油）
osThreadId_t TCP_task_processingTaskHandle;
const osThreadAttr_t TCP_task_processingTask_attributes = {
  .name = "TCP_task_processingTask",        // 任务名，唯一不重复
  .stack_size = 1024* 6,         // 栈大小：4K（足够TCP+JSON解析）
  .priority = (osPriority_t) osPriorityNormal1,  // 优先级同TCP任务
};

// 定时上报任务（从定时上报专用队列取出信息，执行定时上报）
osThreadId_t TimerReqSendTaskHandle;
const osThreadAttr_t TimerReqSendTask_attributes = {
  .name = "TimerReqSendTask",
  .stack_size = 1024 * 4,
  .priority = (osPriority_t)osPriorityNormal1,
};

// 时间同步任务句柄
osThreadId_t TimeSyncTaskHandle;
const osThreadAttr_t TimeSyncTask_attributes = {
  .name       = "TimeSyncTask",
  .stack_size = 1024 * 4,
  .priority   = osPriorityNormal1,
};

// 测试注油任务句柄
osThreadId_t Test_Oil_FillingTaskHandle;
const osThreadAttr_t Test_Oil_FillingTask_attributes = {
  .name       = "Test_Oil_FillingTask",
  .stack_size = 1024 * 4,
  .priority   = osPriorityNormal1,
};

// 看门狗任务句柄
osThreadId_t IWDGTaskHandle;
const osThreadAttr_t IWDGTask_attributes = {
  .name       = "IWDGTask",
  .stack_size = 256 * 4,
  .priority   = osPriorityRealtime,
};

osThreadId_t RebootTaskHandle;
const osThreadAttr_t RebootTask_attributes = {
  .name       = "RebootTask",
  .stack_size = 1024 * 4,    // 栈大小1024字节，兼容Flash读写、TCP发送、字符串操作
  .priority   = osPriorityNormal1,  // 优先级
};

osThreadId_t TcpSenderTaskHandle;
const osThreadAttr_t TcpSenderTask_attributes = {
    .name       = "TcpSender",
    .stack_size = 1024 * 8,                // 4096 字节，足够容纳 2048 字节栈缓冲区
    .priority   = osPriorityNormal,       // 可根据系统负载调整
};

/**********************互斥锁*************************************/
osMutexId_t uart_mutex;//互斥锁，保护UART资源，避免多任务打印冲突
osMutexAttr_t uart_mutex_attr = {
    .name = "uart_mutex",
    .attr_bits = osMutexRecursive, // 支持递归锁，防止printf嵌套死锁
};

osMutexId_t flash_kv_mutex;
osMutexAttr_t flash_kv_mutex_attr = {
    .name = "flash_kv_mutex",
    .attr_bits = osMutexRecursive, // 开启递归，允许同一任务重复获取
};

osMutexId_t udp_pcb_mutex;
osMutexAttr_t udp_pcb_mutex_attr = {
    .name = "udp_pcb_mutex",
    .attr_bits = osMutexRecursive,
};

osMutexId_t tcp_send_mutex;
osMutexAttr_t tcp_send_mutex_attr = {
    .name = "tcp_send_mutex",
    .attr_bits = osMutexRecursive,
};

void StartUDPDiscoverTask(void *argument);
void StartTCPClientTask(void *argument);
void ETH_InitTask(void *argument);
void IWDGTask(void *argument);
void PrintTaskStackAndCount_2(void);
static void TaskMonitor_InitHandle(void);

uint32_t start =0;
uint32_t Initialization_time = 0;
/* USER CODE END FunctionPrototypes */

void StartDefaultTask(void *argument);

extern void MX_LWIP_Init(void);
void MX_FREERTOS_Init(void); /* (MISRA C 2004 rule 8.1) */

/* USER CODE BEGIN PREPOSTSLEEP */
__weak void PreSleepProcessing(uint32_t ulExpectedIdleTime)
{
  /* place for user code */
}

__weak void PostSleepProcessing(uint32_t ulExpectedIdleTime)
{
  /* place for user code */
}
/* USER CODE END PREPOSTSLEEP */

void MX_FREERTOS_Init(void) {
  /* USER CODE BEGIN Init */
  /*初始化全局变量*/
  var_init();
  fal_init();
  /* USER CODE END Init */

  /* Create the thread(s) */
  /* creation of defaultTask */
  defaultTaskHandle = osThreadNew(StartDefaultTask, NULL, &defaultTask_attributes);

  /* USER CODE BEGIN RTOS_THREADS */
  IWDGTaskHandle = osThreadNew(IWDGTask, NULL, &IWDGTask_attributes);//创建看门狗任务
  udp_msg_queue = xQueueCreate(UDP_MSG_QUEUE_LEN, sizeof(UdpMsgTypeDef));
  xTcpTaskQueue = xQueueCreate(TCP_TASK_QUEUE_LEN, sizeof(TaskInfo_t));
  xTimerReqQueue = xQueueCreate(8, sizeof(TaskInfo_t));
  xRebootCmdQueue = xQueueCreate(1, sizeof(RebootCmd_t));
  tcp_send_queue = xQueueCreate(32, sizeof(tcp_send_msg_t));
  uart_mutex = osMutexNew(&uart_mutex_attr);
  flash_kv_mutex = osMutexNew(&flash_kv_mutex_attr);
  udp_pcb_mutex = osMutexNew(&udp_pcb_mutex_attr);
  tcp_send_mutex = osMutexNew(&tcp_send_mutex_attr);
  /* add threads, ... */
  /* USER CODE END RTOS_THREADS */

}

void StartDefaultTask(void *argument)
{
  /* init code for LWIP */
  MX_LWIP_Init();
  /* USER CODE BEGIN StartDefaultTask */
  GenerateDeviceSNFromUID();
  start = HAL_GetTick();
  LOG("init_net_db total start time: %lu ms", start);
  //fdb_kv_del(&net_kvdb, KV_KEY_REBOOT_INFO);// 测试用，清除掉电存储信息
  //—————————————必须放在MX_LWIP_Init();之后———————————————————————
  init_sys_db();//void syncif_task(void *argument)任务里的已经注释掉
  LOG("init_sys_db run time: %lu ms", HAL_GetTick() - start);
  init_net_db();
  LOG("init_net_db total run time: %lu ms", HAL_GetTick() - start);
  init_reboot_db();// 初始化掉电存储数据库，读取上次重启原因
  LOG("init_reboot_db total run time: %lu ms", HAL_GetTick() - start);
  net_config_init();// 读取配网参数（必须放在init_sys_db()之后）
  //——————————————————————————————————————————————————————————————
  OLED_Task_Init();
  MsgQueue_Init();
  start_buzz_task();
	//userShellInit();			//初始化配置LetterShell
  buzz_contral(BUZZ_LONG);
  fdcan1.rx_Filter_Init();
  fdcan1.rx_Interrupt_Init();
  fdcan1.start();
  fdcan2.rx_Filter_Init();
  fdcan2.rx_Interrupt_Init();
  fdcan2.start();

  start_syncif_task();
  vTaskDelay(1000);
  buzz_contral(BUZZ_SHORT);
  start_mbif_task();
  vTaskDelay(1000);
  buzz_contral(BUZZ_SHORT);
  start_injector_task();
  ETH_InitTaskHandle = osThreadNew(ETH_InitTask, NULL, &ETH_InitTask_attributes);
  /* Infinite loop */
  for (;;)
  {
     vTaskDelay(500);
  }
  /* USER CODE END StartDefaultTask */
}

/* USER CODE BEGIN Application */
void PrintTaskStackAndCount(void)
{
    // 1. 获取当前系统总任务数量
    UBaseType_t total_task_num = uxTaskGetNumberOfTasks();
    LOG("==================== System Task Info ====================");
    LOG("Total running task count: %lu", (unsigned long)total_task_num);
    LOG("----------------------------------------------------------");

    // 2. 逐个打印你创建的所有业务/网络任务最小剩余栈水位
    LOG("1 ,IWDGTask                  min stack left: %lu bytes", uxTaskGetStackHighWaterMark(IWDGTaskHandle));
    LOG("2 ,StartDefaultTask          min stack left: %lu bytes", uxTaskGetStackHighWaterMark(defaultTaskHandle));
    LOG("3 ,OLED_Task_Entry           min stack left: %lu bytes", uxTaskGetStackHighWaterMark(g_oledTaskHandle));
    LOG("4 ,OLED_Msg_Task_Entry       min stack left: %lu bytes", uxTaskGetStackHighWaterMark(OLED_Msg_TaskkHandle));
    LOG("5 ,buzz_task                 min stack left: %lu bytes", uxTaskGetStackHighWaterMark(buzz_task_handler));
    LOG("6 ,syncif_task               min stack left: %lu bytes", uxTaskGetStackHighWaterMark(syncif_task_handler));
    LOG("7 ,syncif_task_cycle         min stack left: %lu bytes", uxTaskGetStackHighWaterMark(syncif_task_handler_cycle));
    LOG("8 ,mbif_task                 min stack left: %lu bytes", uxTaskGetStackHighWaterMark(mbif_task_handler));
    LOG("9 ,injector_task             min stack left: %lu bytes", uxTaskGetStackHighWaterMark(injector_task_handler));
    LOG("10,ETH_InitTask              min stack left: %lu bytes", uxTaskGetStackHighWaterMark(ETH_InitTaskHandle));
    LOG("11,udp_discover_task         min stack left: %lu bytes", uxTaskGetStackHighWaterMark(udpTaskHandle));
    LOG("12,tcp_client_task           min stack left: %lu bytes", uxTaskGetStackHighWaterMark(tcpConfigTaskHandle));
    LOG("13,TCP_task_processing_task  min stack left: %lu bytes", uxTaskGetStackHighWaterMark(TCP_task_processingTaskHandle));
    LOG("14,TimerReqSendTask          min stack left: %lu bytes", uxTaskGetStackHighWaterMark(TimerReqSendTaskHandle));
    LOG("15,TimeSyncTask              min stack left: %lu bytes", uxTaskGetStackHighWaterMark(TimeSyncTaskHandle));
    LOG("16,RebootTask                min stack left: %lu bytes", uxTaskGetStackHighWaterMark(RebootTaskHandle));
    LOG("17,TcpSenderTask             min stack left: %lu bytes", uxTaskGetStackHighWaterMark(TcpSenderTaskHandle));
    LOG("18,ethernet_link_thread      min stack left: %lu bytes", uxTaskGetStackHighWaterMark(ethernet_link_threadHandle));
    LOG("19,ethernetif_input          min stack left: %lu bytes", uxTaskGetStackHighWaterMark(ethernetif_inputHandle));
    // LOG("xxx_task                min stack left: %u bytes", uxTaskGetStackHighWaterMark(xxxTaskHandle));
    // LOG("xxx_task                min stack left: %u bytes", uxTaskGetStackHighWaterMark(xxxTaskHandle));

    LOG("----------------------------------------------------------");
    // 3. 打印堆内存使用水位
    size_t heap_free_now = xPortGetFreeHeapSize();//当前系统实时剩余可用堆内存字节数
    size_t heap_free_min = xPortGetMinimumEverFreeHeapSize();//堆内存出现过的最小剩余字节
    LOG("Heap Now Free: %u Bytes | Min Free Heap: %u Bytes", heap_free_now, heap_free_min);
    LOG("==========================================================\r\n");
}

void ETH_InitTask(void *argument)
{

  //—————————————必须放在MX_LWIP_Init();之后———————————————————————
  // init_net_db();
  //net_config_init();// 读取配网参数（必须放在init_sys_db()之后）
  //——————————————————————————————————————————————————————————————
  udpTaskHandle = osThreadNew(udp_discover_task, NULL, &udpTask_attributes);
  tcpConfigTaskHandle = osThreadNew(tcp_client_task, NULL, &tcpConfigTask_attributes);
  TCP_task_processingTaskHandle = osThreadNew(TCP_task_processing_task,  NULL, &TCP_task_processingTask_attributes);
  TimerReqSendTaskHandle = osThreadNew(timer_req_send_task, NULL, &TimerReqSendTask_attributes);
  TimeSyncTaskHandle = osThreadNew(TimeSyncTask, NULL, &TimeSyncTask_attributes);
  RebootTaskHandle = osThreadNew(vRebootTask, NULL, &RebootTask_attributes);
  TcpSenderTaskHandle = osThreadNew(tcp_sender_task, NULL, &TcpSenderTask_attributes);
  // Test_Oil_FillingTaskHandle = osThreadNew(test_oil_filling_task, NULL, &Test_Oil_FillingTask_attributes);
  // if(Test_Oil_FillingTaskHandle==0&&TimeSyncTaskHandle==0&&TimerReqSendTaskHandle==0&&TCP_task_processingTaskHandle==0&&tcpConfigTaskHandle==0&&udpTaskHandle==0)
  // {
  //   for (;;)
  //   {
  //       vTaskDelay(2000);
  //   }
  // }
  LOG("init run time: %lu ms", HAL_GetTick() - start);
  Initialization_time = (HAL_GetTick() - start + 10000)/1000; // 预留5秒，确保系统初始化完成
  // osThreadNew(udp_echo_task, NULL, NULL);
  vTaskDelay(5000);
  TaskMonitor_InitHandle();
  for (;;)
  {
    //PrintTaskStackAndCount();
    PrintTaskStackAndCount_2();
    vTaskDelay(50000);

  }
}

void IWDGTask(void *argument)
{
  for (;;)
  {
    HAL_IWDG_Refresh(&hiwdg1); // 循环末尾喂狗
    vTaskDelay(pdMS_TO_TICKS(100));
  }
}

void vApplicationStackOverflowHook(TaskHandle_t xTask, char *pcTaskName)
{
    // 当任务栈溢出时，会自动进入这里
    // pcTaskName 变量就是出问题的任务名字！
    (void)xTask;
    while(1)
    {
        __NOP(); // 死循环，方便调试
    }
}

/* 栈告警阈值：单位 words，剩余小于该值触发告警，建议 80~120 */
#define TASK_STACK_ALERT_WORDS      100U
/* 连续多少次检测栈持续下降才报泄漏警告，避免瞬时波动 */
#define STACK_DROP_DETECT_CNT       5U

/* 保存每个任务上一次的栈水位(words)，用于检测持续下降 */
typedef struct
{
    TaskHandle_t handle;
    const char*  task_name;
    UBaseType_t  last_watermark;
    uint8_t      drop_cnt;     /* 连续下降计数 */
}TASK_STACK_MONITOR_T;

/* 任务监控列表，和你PrintTaskStackAndCount里面任务一一对应 */
static TASK_STACK_MONITOR_T g_task_monitor_list[] =
{
    {NULL, "IWDGTask",                     0,0},
    {NULL, "StartDefaultTask",             0,0},
    {NULL, "OLED_Task_Entry",              0,0},
    {NULL, "OLED_Msg_Task_Entry",          0,0},
    {NULL, "buzz_task",                    0,0},
    {NULL, "syncif_task",                  0,0},
    {NULL, "syncif_task_cycle",            0,0},
    {NULL, "mbif_task",                    0,0},
    {NULL, "injector_task",                0,0},
    {NULL, "ETH_InitTask",                 0,0},
    {NULL, "udp_discover_task",            0,0},
    {NULL, "tcp_client_task",              0,0},
    {NULL, "TCP_task_processing_task",     0,0},
    {NULL, "TimerReqSendTask",             0,0},
    {NULL, "TimeSyncTask",                 0,0},
    {NULL, "RebootTask",                   0,0},
    {NULL, "TcpSenderTask",                0,0},
    {NULL, "ethernet_link_thread",         0,0},
    {NULL, "ethernetif_input",             0,0},
};
#define TASK_MONITOR_NUM    (sizeof(g_task_monitor_list)/sizeof(TASK_STACK_MONITOR_T))
// 在所有osThreadNew执行完之后调用，回填句柄
static void TaskMonitor_InitHandle(void)
{
    g_task_monitor_list[0].handle  = IWDGTaskHandle;
    g_task_monitor_list[1].handle  = defaultTaskHandle;
    g_task_monitor_list[2].handle  = g_oledTaskHandle;
    g_task_monitor_list[3].handle  = OLED_Msg_TaskkHandle;
    g_task_monitor_list[4].handle  = buzz_task_handler;
    g_task_monitor_list[5].handle  = syncif_task_handler;
    g_task_monitor_list[6].handle  = syncif_task_handler_cycle;
    g_task_monitor_list[7].handle  = mbif_task_handler;
    g_task_monitor_list[8].handle  = injector_task_handler;
    g_task_monitor_list[9].handle  = ETH_InitTaskHandle;
    g_task_monitor_list[10].handle = udpTaskHandle;
    g_task_monitor_list[11].handle = tcpConfigTaskHandle;
    g_task_monitor_list[12].handle = TCP_task_processingTaskHandle;
    g_task_monitor_list[13].handle = TimerReqSendTaskHandle;
    g_task_monitor_list[14].handle = TimeSyncTaskHandle;
    g_task_monitor_list[15].handle = RebootTaskHandle;
    g_task_monitor_list[16].handle = TcpSenderTaskHandle;
    g_task_monitor_list[17].handle = ethernet_link_threadHandle;
    g_task_monitor_list[18].handle = ethernetif_inputHandle;
}
#define TASK_MONITOR_NUM    (sizeof(g_task_monitor_list)/sizeof(TASK_STACK_MONITOR_T))

void PrintTaskStackAndCount_2(void)
{
    UBaseType_t total_task_num = uxTaskGetNumberOfTasks();
    LOG("==================== System Task Info ====================");
    LOG("Total running task count: %lu", (unsigned long)total_task_num);
    LOG("----------------------------------------------------------");

    for(uint32_t i = 0; i < TASK_MONITOR_NUM; i++)
    {
        TASK_STACK_MONITOR_T *p_item = &g_task_monitor_list[i];
        if(p_item->handle == NULL)
        {
            LOG("%-25s Handle=NULL", p_item->task_name);
            continue;
        }

        UBaseType_t curr_water = uxTaskGetStackHighWaterMark(p_item->handle);
        uint32_t curr_byte = curr_water * sizeof(StackType_t);

        // 如果有下降计数，就打印出来
        if(p_item->drop_cnt > 0U)
        {
            LOG("%-25s min stack left: %lu words / %lu bytes, drop_cnt:%lu",
                p_item->task_name, curr_water, curr_byte, (unsigned long)p_item->drop_cnt);
        }
        else
        {
            LOG("%-25s min stack left: %lu words / %lu bytes",
                p_item->task_name, curr_water, curr_byte);
        }

        /* ==========阈值告警逻辑========== */
        if(curr_water < TASK_STACK_ALERT_WORDS)
        {
            LOG("[WARN] STACK LOW! Task:%s remain words:%lu", p_item->task_name, curr_water);
        }

        /* 判断栈是否持续变小（栈泄漏趋势检测） */
        if(p_item->last_watermark != 0U)
        {
            if(curr_water < p_item->last_watermark)
            {
                p_item->drop_cnt ++;
                if(p_item->drop_cnt >= STACK_DROP_DETECT_CNT)
                {
                    LOG("[CRITICAL] STACK CONTINUE DROP! Task:%s last:%lu curr:%lu, drop_cnt:%lu",
                        p_item->task_name, p_item->last_watermark, curr_water, (unsigned long)p_item->drop_cnt);
                }
            }
            else
            {
                /* 不再下降，清零计数 */
                p_item->drop_cnt = 0U;
            }
        }
        p_item->last_watermark = curr_water;
    }

    LOG("----------------------------------------------------------");
    size_t heap_free_now = xPortGetFreeHeapSize();
    size_t heap_free_min = xPortGetMinimumEverFreeHeapSize();
    LOG("Heap Now Free: %u Bytes | Min Free Heap: %u Bytes", heap_free_now, heap_free_min);

    /* 堆内存简单告警，可自定义阈值 */
#define HEAP_ALERT_THRESHOLD    (4*1024U)
    if(heap_free_min < HEAP_ALERT_THRESHOLD)
    {
        LOG("[WARN] HEAP LOW WARNING! min free heap:%u", heap_free_min);
    }

    LOG("==========================================================\r\n");
}
/* USER CODE END Application */
